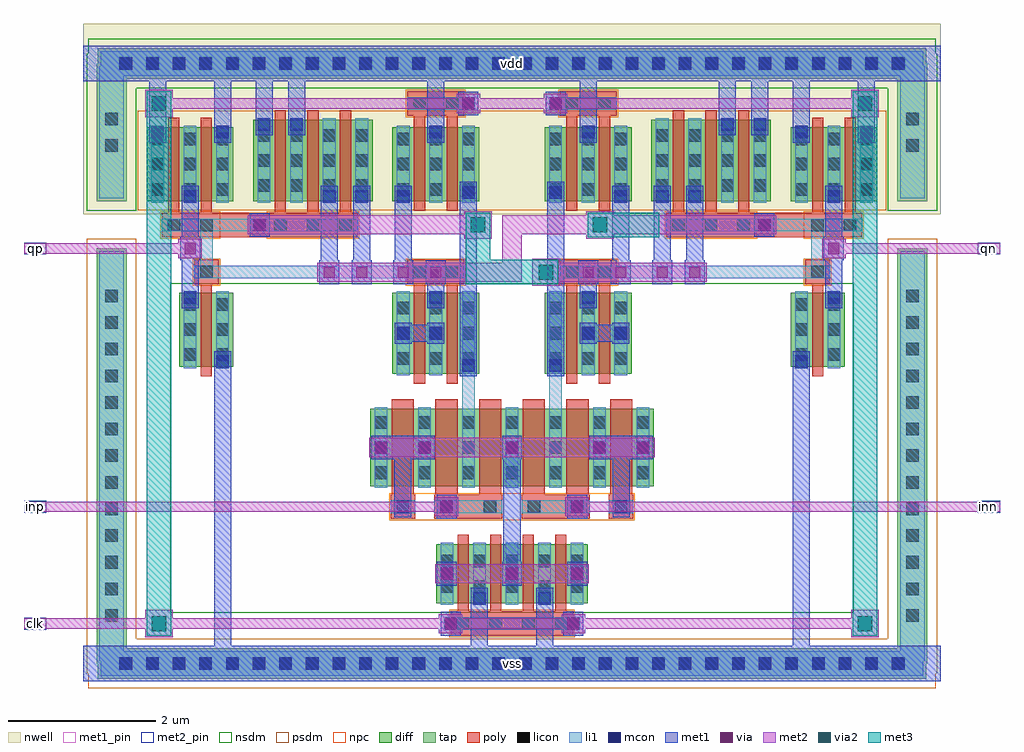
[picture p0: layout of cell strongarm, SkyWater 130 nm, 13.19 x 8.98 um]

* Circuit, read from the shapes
.subckt strongarm clk inn inp qn qp vdd vss
XM1 vss n1 qp vss sky130_fd_pr__nfet_01v8 w=1 l=0.15
XM2 n2 n2 n2 vss sky130_fd_pr__nfet_01v8 w=1.05 l=0.3 m=2
XM3 n3 n1 n3 vss sky130_fd_pr__nfet_01v8 w=1.1 l=0.15
XM4 n4 inp n2 vss sky130_fd_pr__nfet_01v8 w=1.05 l=0.3 m=2
XM5 n4 n1 n3 vss sky130_fd_pr__nfet_01v8 w=1.1 l=0.15
XM6 vss clk n2 vss sky130_fd_pr__nfet_01v8 w=0.8 l=0.15 m=4
XM7 n5 inn n2 vss sky130_fd_pr__nfet_01v8 w=1.05 l=0.3 m=2
XM8 n1 n3 n5 vss sky130_fd_pr__nfet_01v8 w=1.1 l=0.15
XM9 n1 n3 n1 vss sky130_fd_pr__nfet_01v8 w=1.1 l=0.15
XM10 qn n3 vss vss sky130_fd_pr__nfet_01v8 w=1 l=0.15
XM11 qp n1 vdd vdd sky130_fd_pr__pfet_01v8 w=1 l=0.15 m=2
XM12 vdd n1 vdd vdd sky130_fd_pr__pfet_01v8 w=1.1 l=0.15
XM13 n3 n1 vdd vdd sky130_fd_pr__pfet_01v8 w=1.1 l=0.15
XM14 n3 n1 n3 vdd sky130_fd_pr__pfet_01v8 w=1.1 l=0.15
XM15 vdd clk n3 vdd sky130_fd_pr__pfet_01v8 w=1 l=0.15
XM16 n4 clk vdd vdd sky130_fd_pr__pfet_01v8 w=1 l=0.15
XM17 vdd clk n5 vdd sky130_fd_pr__pfet_01v8 w=1 l=0.15
XM18 n1 clk vdd vdd sky130_fd_pr__pfet_01v8 w=1 l=0.15
XM19 n1 n3 n1 vdd sky130_fd_pr__pfet_01v8 w=1.1 l=0.15
XM20 vdd n3 n1 vdd sky130_fd_pr__pfet_01v8 w=1.1 l=0.15
XM21 vdd n3 vdd vdd sky130_fd_pr__pfet_01v8 w=1.1 l=0.15
XM22 qn n3 vdd vdd sky130_fd_pr__pfet_01v8 w=1 l=0.15 m=2
.ends

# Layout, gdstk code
import gdstk
lib = gdstk.Library(unit=1e-6, precision=1e-09)
def R(c, l, rs):  # rectangles x0, y0, x1, y1
    for r in rs: c.add(gdstk.rectangle(r[:2], r[2:], *l))
def A(c, l, x, y, w, h, nx, ny, dx, dy):  # array of equal rectangles
    R(c, l, [(x+i*dx, y+j*dy, x+i*dx+w, y+j*dy+h) for i in range(nx) for j in range(ny)])
nwell = (64, 20)
diff = (65, 20)
tap = (65, 44)
poly = (66, 20)
licon = (66, 44)
li1 = (67, 20)
mcon = (67, 44)
met1_pin = (68, 16)
met1 = (68, 20)
via = (68, 44)
met2_pin = (69, 16)
met2 = (69, 20)
via2 = (69, 44)
met3 = (70, 20)
nsdm = (93, 44)
psdm = (94, 20)
npc = (95, 20)

strongarm = lib.new_cell('strongarm')
R(strongarm, nwell, [(-5.795,6.31,5.795,8.89)])
A(strongarm, diff, -1.025, 1.055, 0.73, 0.8, 4, 1, 0.44, 0)
A(strongarm, diff, -1.915, 2.635, 0.88, 1.05, 6, 1, 0.59, 0)
A(strongarm, diff, -3.495, 6.49, 0.73, 1.1, 3, 1, 0.44, 0)
A(strongarm, diff, 1.885, 6.49, 0.73, 1.1, 3, 1, 0.44, 0)
R(strongarm, diff, [(-1.615,4.155,-0.885,5.255), (-1.175,4.155,-0.445,5.255), (0.445,4.155,1.175,5.255), (0.885,4.155,1.615,5.255), (-4.495,4.255,-3.765,5.255), (3.765,4.255,4.495,5.255), (-4.935,6.49,-4.205,7.49), (-4.495,6.49,-3.765,7.49), (-1.615,6.49,-0.885,7.49), (-1.175,6.49,-0.445,7.49), (0.445,6.49,1.175,7.49), (0.885,6.49,1.615,7.49), (3.765,6.49,4.495,7.49), (4.205,6.49,4.935,7.49)])
R(strongarm, tap, [(-5.595,0.035,5.595,0.445), (-5.615,0.24,-5.205,5.855), (5.205,0.24,5.615,5.855), (-5.615,6.49,-5.205,8.35), (5.205,6.49,5.615,8.35), (-5.595,8.145,5.595,8.555)])
A(strongarm, poly, -0.825, 0.615, 0.33, 0.33, 4, 1, 0.44, 0)
A(strongarm, poly, -0.505, 0.615, 0.13, 0.33, 3, 1, 0.44, 0)
A(strongarm, poly, -0.735, 0.945, 0.15, 1.04, 4, 1, 0.44, 0)
A(strongarm, poly, -1.64, 2.195, 0.33, 0.33, 6, 1, 0.59, 0)
A(strongarm, poly, -1.625, 2.525, 0.3, 1.29, 6, 1, 0.59, 0)
A(strongarm, poly, -3.295, 6.005, 0.33, 0.33, 3, 1, 0.44, 0)
A(strongarm, poly, 2.085, 6.005, 0.33, 0.33, 3, 1, 0.44, 0)
A(strongarm, poly, -3.205, 6.335, 0.15, 1.385, 3, 1, 0.44, 0)
A(strongarm, poly, 2.175, 6.335, 0.15, 1.385, 3, 1, 0.44, 0)
R(strongarm, poly, [(-0.73,2.195,-0.45,2.525), (0.45,2.195,0.73,2.525), (-1.325,4.025,-1.175,5.365), (-0.885,4.025,-0.735,5.365), (0.735,4.025,0.885,5.365), (1.175,4.025,1.325,5.365), (-4.205,4.125,-4.055,5.365), (4.055,4.125,4.205,5.365), (-4.295,5.365,-3.965,5.695), (-1.415,5.365,-1.085,5.695), (-1.095,5.365,-0.965,5.695), (-0.975,5.365,-0.645,5.695), (0.645,5.365,0.975,5.695), (0.965,5.365,1.095,5.695), (1.085,5.365,1.415,5.695), (3.965,5.365,4.295,5.695), (-4.735,6.005,-4.405,6.335), (-4.415,6.005,-4.285,6.335), (-4.295,6.005,-3.965,6.335), (-3.975,6.005,-3.285,6.335), (-2.975,6.005,-2.845,6.335), (-2.535,6.005,-2.405,6.335), (2.405,6.005,2.535,6.335), (2.845,6.005,2.975,6.335), (3.285,6.005,3.975,6.335), (3.965,6.005,4.295,6.335), (4.285,6.005,4.415,6.335), (4.405,6.005,4.735,6.335), (-4.645,6.335,-4.495,7.62), (-4.205,6.335,-4.055,7.62), (4.055,6.335,4.205,7.62), (4.495,6.335,4.645,7.62), (-1.325,6.36,-1.175,7.645), (-0.885,6.36,-0.735,7.645), (0.735,6.36,0.885,7.645), (1.175,6.36,1.325,7.645), (-1.415,7.645,-1.085,7.975), (-1.095,7.645,-0.965,7.975), (-0.975,7.645,-0.645,7.975), (0.645,7.645,0.975,7.975), (0.965,7.645,1.095,7.975), (1.085,7.645,1.415,7.975)])
A(strongarm, licon, -5.305, 0.155, 0.17, 0.17, 30, 2, 0.36, 8.11)
A(strongarm, licon, -0.745, 0.695, 0.17, 0.17, 4, 1, 0.44, 0)
A(strongarm, licon, -5.495, 0.805, 0.17, 0.17, 1, 13, 0, 0.36)
A(strongarm, licon, 5.325, 0.805, 0.17, 0.17, 1, 13, 0, 0.36)
A(strongarm, licon, -1.56, 2.275, 0.17, 0.17, 6, 1, 0.59, 0)
A(strongarm, licon, -1.855, 2.735, 0.17, 0.17, 1, 3, 0, 0.34)
A(strongarm, licon, 1.685, 2.735, 0.17, 0.17, 1, 3, 0, 0.34)
A(strongarm, licon, -1.555, 4.28, 0.17, 0.17, 1, 3, 0, 0.34)
A(strongarm, licon, -0.675, 4.28, 0.17, 0.17, 1, 3, 0, 0.34)
A(strongarm, licon, 0.505, 4.28, 0.17, 0.17, 1, 3, 0, 0.34)
A(strongarm, licon, 1.385, 4.28, 0.17, 0.17, 1, 3, 0, 0.34)
A(strongarm, licon, -4.435, 4.33, 0.17, 0.17, 1, 3, 0, 0.34)
A(strongarm, licon, -3.995, 4.33, 0.17, 0.17, 1, 3, 0, 0.34)
A(strongarm, licon, 3.825, 4.33, 0.17, 0.17, 1, 3, 0, 0.34)
A(strongarm, licon, 4.265, 4.33, 0.17, 0.17, 1, 3, 0, 0.34)
A(strongarm, licon, -3.215, 6.085, 0.17, 0.17, 3, 1, 0.44, 0)
A(strongarm, licon, 2.165, 6.085, 0.17, 0.17, 3, 1, 0.44, 0)
A(strongarm, licon, -4.875, 6.565, 0.17, 0.17, 1, 3, 0, 0.34)
A(strongarm, licon, -3.995, 6.565, 0.17, 0.17, 1, 3, 0, 0.34)
A(strongarm, licon, -1.555, 6.565, 0.17, 0.17, 1, 3, 0, 0.34)
A(strongarm, licon, -0.675, 6.565, 0.17, 0.17, 1, 3, 0, 0.34)
A(strongarm, licon, 0.505, 6.565, 0.17, 0.17, 1, 3, 0, 0.34)
A(strongarm, licon, 1.385, 6.565, 0.17, 0.17, 1, 3, 0, 0.34)
A(strongarm, licon, 3.825, 6.565, 0.17, 0.17, 1, 3, 0, 0.34)
A(strongarm, licon, 4.705, 6.565, 0.17, 0.17, 1, 3, 0, 0.34)
A(strongarm, licon, -3.435, 6.615, 0.17, 0.17, 1, 3, 0, 0.34)
A(strongarm, licon, -2.115, 6.615, 0.17, 0.17, 1, 3, 0, 0.34)
A(strongarm, licon, 1.945, 6.615, 0.17, 0.17, 1, 3, 0, 0.34)
A(strongarm, licon, 3.265, 6.615, 0.17, 0.17, 1, 3, 0, 0.34)
R(strongarm, licon, [(-0.965,1.2,-0.795,1.37), (-0.525,1.2,-0.355,1.37), (-0.525,1.2,-0.355,1.37), (-0.085,1.2,0.085,1.37), (-0.085,1.2,0.085,1.37), (0.355,1.2,0.525,1.37), (0.355,1.2,0.525,1.37), (0.795,1.2,0.965,1.37), (-0.965,1.54,-0.795,1.71), (-0.525,1.54,-0.355,1.71), (-0.525,1.54,-0.355,1.71), (-0.085,1.54,0.085,1.71), (-0.085,1.54,0.085,1.71), (0.355,1.54,0.525,1.71), (0.355,1.54,0.525,1.71), (0.795,1.54,0.965,1.71), (-1.265,2.735,-1.095,2.905), (-1.265,2.735,-1.095,2.905), (-0.675,2.735,-0.505,2.905), (-0.675,2.735,-0.505,2.905), (-0.085,2.735,0.085,2.905), (-0.085,2.735,0.085,2.905), (0.505,2.735,0.675,2.905), (0.505,2.735,0.675,2.905), (1.095,2.735,1.265,2.905), (1.095,2.735,1.265,2.905), (-1.265,3.075,-1.095,3.245), (-1.265,3.075,-1.095,3.245), (-0.675,3.075,-0.505,3.245), (-0.675,3.075,-0.505,3.245), (-0.085,3.075,0.085,3.245), (-0.085,3.075,0.085,3.245), (0.505,3.075,0.675,3.245), (0.505,3.075,0.675,3.245), (1.095,3.075,1.265,3.245), (1.095,3.075,1.265,3.245), (-1.265,3.415,-1.095,3.585), (-1.265,3.415,-1.095,3.585), (-0.675,3.415,-0.505,3.585), (-0.675,3.415,-0.505,3.585), (-0.085,3.415,0.085,3.585), (-0.085,3.415,0.085,3.585), (0.505,3.415,0.675,3.585), (0.505,3.415,0.675,3.585), (1.095,3.415,1.265,3.585), (1.095,3.415,1.265,3.585), (-1.115,4.28,-0.945,4.45), (-1.115,4.28,-0.945,4.45), (0.945,4.28,1.115,4.45), (0.945,4.28,1.115,4.45), (-1.115,4.62,-0.945,4.79), (-1.115,4.62,-0.945,4.79), (0.945,4.62,1.115,4.79), (0.945,4.62,1.115,4.79), (-1.115,4.96,-0.945,5.13), (-1.115,4.96,-0.945,5.13), (0.945,4.96,1.115,5.13), (0.945,4.96,1.115,5.13), (-4.215,5.445,-4.045,5.615), (-1.335,5.445,-1.165,5.615), (-0.895,5.445,-0.725,5.615), (0.725,5.445,0.895,5.615), (1.165,5.445,1.335,5.615), (4.045,5.445,4.215,5.615), (-4.655,6.085,-4.485,6.255), (-4.215,6.085,-4.045,6.255), (4.045,6.085,4.215,6.255), (4.485,6.085,4.655,6.255), (-4.435,6.565,-4.265,6.735), (-4.435,6.565,-4.265,6.735), (-1.115,6.565,-0.945,6.735), (-1.115,6.565,-0.945,6.735), (0.945,6.565,1.115,6.735), (0.945,6.565,1.115,6.735), (4.265,6.565,4.435,6.735), (4.265,6.565,4.435,6.735), (-2.995,6.615,-2.825,6.785), (-2.995,6.615,-2.825,6.785), (-2.555,6.615,-2.385,6.785), (-2.555,6.615,-2.385,6.785), (2.385,6.615,2.555,6.785), (2.385,6.615,2.555,6.785), (2.825,6.615,2.995,6.785), (2.825,6.615,2.995,6.785), (-4.435,6.905,-4.265,7.075), (-4.435,6.905,-4.265,7.075), (-1.115,6.905,-0.945,7.075), (-1.115,6.905,-0.945,7.075), (0.945,6.905,1.115,7.075), (0.945,6.905,1.115,7.075), (4.265,6.905,4.435,7.075), (4.265,6.905,4.435,7.075), (-2.995,6.955,-2.825,7.125), (-2.995,6.955,-2.825,7.125), (-2.555,6.955,-2.385,7.125), (-2.555,6.955,-2.385,7.125), (2.385,6.955,2.555,7.125), (2.385,6.955,2.555,7.125), (2.825,6.955,2.995,7.125), (2.825,6.955,2.995,7.125), (-5.495,7.155,-5.325,7.325), (5.325,7.155,5.495,7.325), (-4.435,7.245,-4.265,7.415), (-4.435,7.245,-4.265,7.415), (-1.115,7.245,-0.945,7.415), (-1.115,7.245,-0.945,7.415), (0.945,7.245,1.115,7.415), (0.945,7.245,1.115,7.415), (4.265,7.245,4.435,7.415), (4.265,7.245,4.435,7.415), (-2.995,7.295,-2.825,7.465), (-2.995,7.295,-2.825,7.465), (-2.555,7.295,-2.385,7.465), (-2.555,7.295,-2.385,7.465), (2.385,7.295,2.555,7.465), (2.385,7.295,2.555,7.465), (2.825,7.295,2.995,7.465), (2.825,7.295,2.995,7.465), (-5.495,7.515,-5.325,7.685), (5.325,7.515,5.495,7.685), (-1.335,7.725,-1.165,7.895), (-0.895,7.725,-0.725,7.895), (0.725,7.725,0.895,7.895), (1.165,7.725,1.335,7.895)])
A(strongarm, li1, -0.825, 0.695, 0.33, 0.17, 4, 1, 0.44, 0)
A(strongarm, li1, -0.505, 0.695, 0.13, 0.17, 3, 1, 0.44, 0)
A(strongarm, li1, -1.64, 2.275, 0.33, 0.17, 6, 1, 0.59, 0)
A(strongarm, li1, -3.295, 6.085, 0.33, 0.17, 3, 1, 0.44, 0)
A(strongarm, li1, 2.085, 6.085, 0.33, 0.17, 3, 1, 0.44, 0)
R(strongarm, li1, [(-5.555,0.075,5.555,0.405), (-5.575,0.28,-5.245,5.815), (5.245,0.28,5.575,5.815), (-0.915,0.695,0.915,0.865), (-0.965,1.035,-0.795,1.875), (-0.525,1.035,-0.355,1.875), (-0.525,1.035,-0.355,1.875), (-0.085,1.035,0.085,1.875), (-0.085,1.035,0.085,1.875), (0.355,1.035,0.525,1.875), (0.355,1.035,0.525,1.875), (0.795,1.035,0.965,1.875), (-0.73,2.275,-0.45,2.445), (0.45,2.275,0.73,2.445), (-1.855,2.615,-1.685,3.705), (-1.265,2.615,-1.095,3.705), (-1.265,2.615,-1.095,3.705), (-0.675,2.615,-0.505,3.705), (-0.675,2.615,-0.505,3.705), (-0.085,2.615,0.085,3.705), (-0.085,2.615,0.085,3.705), (0.505,2.615,0.675,3.705), (0.505,2.615,0.675,3.705), (1.095,2.615,1.265,3.705), (1.095,2.615,1.265,3.705), (1.685,2.615,1.855,3.705), (-0.675,3.695,-0.505,4.145), (0.505,3.695,0.675,4.145), (-1.555,4.135,-1.385,5.275), (-1.115,4.135,-0.945,5.275), (-1.115,4.135,-0.945,5.275), (-0.675,4.135,-0.505,5.275), (0.505,4.135,0.675,5.275), (0.945,4.135,1.115,5.275), (0.945,4.135,1.115,5.275), (1.385,4.135,1.555,5.275), (-4.435,4.235,-4.265,5.275), (-3.995,4.235,-3.825,5.275), (3.825,4.235,3.995,5.275), (4.265,4.235,4.435,5.275), (-4.295,5.445,-3.965,5.615), (-4.215,5.445,-0.725,5.615), (-1.415,5.445,-1.085,5.615), (-1.095,5.445,-0.965,5.615), (-0.975,5.445,-0.645,5.615), (0.645,5.445,0.975,5.615), (0.725,5.445,4.215,5.615), (0.965,5.445,1.095,5.615), (1.085,5.445,1.415,5.615), (3.965,5.445,4.295,5.615), (-4.215,5.53,-4.045,6.17), (4.045,5.53,4.215,6.17), (-4.735,6.085,-4.405,6.255), (-4.655,6.085,-2.165,6.255), (-4.415,6.085,-4.285,6.255), (-4.295,6.085,-3.965,6.255), (-3.975,6.085,-3.285,6.255), (-2.975,6.085,-2.845,6.255), (-2.535,6.085,-2.405,6.255), (2.165,6.085,4.655,6.255), (2.405,6.085,2.535,6.255), (2.845,6.085,2.975,6.255), (3.285,6.085,3.975,6.255), (3.965,6.085,4.295,6.255), (4.285,6.085,4.415,6.255), (4.405,6.085,4.735,6.255), (-4.875,6.47,-4.705,7.51), (-4.435,6.47,-4.265,7.51), (-4.435,6.47,-4.265,7.51), (-3.995,6.47,-3.825,7.51), (-3.435,6.47,-3.265,7.61), (-2.995,6.47,-2.825,7.61), (-2.995,6.47,-2.825,7.61), (-2.555,6.47,-2.385,7.61), (-2.555,6.47,-2.385,7.61), (-2.115,6.47,-1.945,7.61), (-1.555,6.47,-1.385,7.51), (-1.115,6.47,-0.945,7.51), (-1.115,6.47,-0.945,7.51), (-0.675,6.47,-0.505,7.51), (0.505,6.47,0.675,7.51), (0.945,6.47,1.115,7.51), (0.945,6.47,1.115,7.51), (1.385,6.47,1.555,7.51), (1.945,6.47,2.115,7.61), (2.385,6.47,2.555,7.61), (2.385,6.47,2.555,7.61), (2.825,6.47,2.995,7.61), (2.825,6.47,2.995,7.61), (3.265,6.47,3.435,7.61), (3.825,6.47,3.995,7.51), (4.265,6.47,4.435,7.51), (4.265,6.47,4.435,7.51), (4.705,6.47,4.875,7.51), (-5.575,6.53,-5.245,8.31), (5.245,6.53,5.575,8.31), (-1.415,7.725,-1.085,7.895), (-1.335,7.725,-0.505,7.895), (-1.095,7.725,-0.965,7.895), (-0.975,7.725,-0.645,7.895), (0.505,7.725,1.335,7.895), (0.645,7.725,0.975,7.895), (0.965,7.725,1.095,7.895), (1.085,7.725,1.415,7.895), (-5.555,8.185,5.555,8.515)])
A(strongarm, mcon, -5.305, 0.155, 0.17, 0.17, 30, 2, 0.36, 8.11)
A(strongarm, mcon, -0.965, 1.37, 0.17, 0.17, 3, 1, 0.88, 0)
A(strongarm, mcon, -1.265, 3.075, 0.17, 0.17, 3, 1, 1.18, 0)
R(strongarm, mcon, [(-0.915,0.695,-0.745,0.865), (0.745,0.695,0.915,0.865), (-0.525,1.035,-0.355,1.205), (0.355,1.035,0.525,1.205), (-1.56,2.275,-1.39,2.445), (-0.97,2.275,-0.8,2.445), (0.795,2.275,0.965,2.445), (1.39,2.275,1.56,2.445), (-1.855,3.075,-1.685,3.245), (1.685,3.075,1.855,3.245), (-0.675,4.185,-0.505,4.355), (0.505,4.185,0.675,4.355), (-3.995,4.235,-3.825,4.405), (3.825,4.235,3.995,4.405), (-1.555,4.62,-1.385,4.79), (-1.115,4.62,-0.945,4.79), (0.945,4.62,1.115,4.79), (1.385,4.62,1.555,4.79), (-4.435,5.105,-4.265,5.275), (-1.115,5.105,-0.945,5.275), (0.945,5.105,1.115,5.275), (4.265,5.105,4.435,5.275), (-3.495,6.085,-3.325,6.255), (3.325,6.085,3.495,6.255), (-4.435,6.47,-4.265,6.64), (-2.555,6.47,-2.385,6.64), (-2.115,6.47,-1.945,6.64), (-1.555,6.47,-1.385,6.64), (1.385,6.47,1.555,6.64), (1.945,6.47,2.115,6.64), (2.385,6.47,2.555,6.64), (4.265,6.47,4.435,6.64), (-0.675,6.52,-0.505,6.69), (0.505,6.52,0.675,6.69), (-4.875,7.34,-4.705,7.51), (-3.995,7.34,-3.825,7.51), (-1.115,7.34,-0.945,7.51), (0.945,7.34,1.115,7.51), (3.825,7.34,3.995,7.51), (4.705,7.34,4.875,7.51), (-3.435,7.44,-3.265,7.61), (-2.995,7.44,-2.825,7.61), (2.825,7.44,2.995,7.61), (3.265,7.44,3.435,7.61), (-0.675,7.725,-0.505,7.895), (0.505,7.725,0.675,7.895)])
R(strongarm, met1_pin, [(-0.15,0.16,0.15,0.32), (-0.15,8.27,0.15,8.43)])
A(strongarm, met1, -1.015, 1.295, 0.27, 0.32, 3, 1, 0.88, 0)
A(strongarm, met1, -1.315, 3, 0.27, 0.32, 3, 1, 1.18, 0)
R(strongarm, met1, [(-5.795,0,5.795,0.48), (-4.025,0.24,-3.795,4.405), (-0.555,0.24,-0.325,1.205), (0.325,0.24,0.555,1.205), (3.795,0.24,4.025,4.405), (-0.965,0.62,-0.695,0.94), (0.695,0.62,0.965,0.94), (-0.555,0.975,-0.325,1.265), (0.325,0.975,0.555,1.265), (-0.115,1.455,0.115,3.16), (-1.02,2.2,-0.75,2.52), (-1.02,2.2,-0.75,2.52), (0.745,2.2,1.015,2.52), (0.745,2.2,1.015,2.52), (-1.59,2.215,-1.36,2.505), (1.36,2.215,1.59,2.505), (-1.59,2.36,-1.36,3.16), (1.36,2.36,1.59,3.16), (-1.905,3,-1.635,3.32), (-1.77,3,-1.18,3.32), (1.18,3,1.77,3.32), (1.635,3,1.905,3.32), (-0.705,4.125,-0.475,4.415), (0.475,4.125,0.705,4.415), (-4.025,4.175,-3.795,4.465), (3.795,4.175,4.025,4.465), (-0.705,4.185,-0.475,6.69), (0.475,4.185,0.705,6.69), (-1.585,4.56,-1.355,4.85), (-1.145,4.56,-0.915,4.85), (0.915,4.56,1.145,4.85), (1.355,4.56,1.585,4.85), (-1.47,4.59,-1.03,4.82), (1.03,4.59,1.47,4.82), (-4.465,5.045,-4.235,5.335), (-1.145,5.045,-0.915,5.335), (0.915,5.045,1.145,5.335), (4.235,5.045,4.465,5.335), (-4.465,5.105,-4.235,6.64), (-1.145,5.105,-0.915,5.53), (0.915,5.105,1.145,5.53), (4.235,5.105,4.465,6.64), (-2.605,5.37,-2.335,5.69), (-2.585,5.37,-2.355,5.69), (-2.165,5.37,-1.895,5.69), (-2.145,5.37,-1.915,5.69), (-1.605,5.37,-1.335,5.69), (-1.585,5.37,-1.355,5.69), (-1.165,5.37,-0.895,5.69), (-1.145,5.37,-0.915,5.69), (0.895,5.37,1.165,5.69), (0.915,5.37,1.145,5.69), (1.335,5.37,1.605,5.69), (1.355,5.37,1.585,5.69), (1.895,5.37,2.165,5.69), (1.915,5.37,2.145,5.69), (2.335,5.37,2.605,5.69), (2.355,5.37,2.585,5.69), (-2.585,5.53,-2.355,6.64), (-2.145,5.53,-1.915,6.64), (-1.585,5.53,-1.355,6.64), (1.355,5.53,1.585,6.64), (1.915,5.53,2.145,6.64), (2.355,5.53,2.585,6.64), (-4.485,5.69,-4.215,6.01), (4.215,5.69,4.485,6.01), (-3.545,6.01,-3.275,6.33), (3.275,6.01,3.545,6.33), (-4.465,6.41,-4.235,6.7), (-2.585,6.41,-2.355,6.7), (-2.145,6.41,-1.915,6.7), (-1.585,6.41,-1.355,6.7), (1.355,6.41,1.585,6.7), (1.915,6.41,2.145,6.7), (2.355,6.41,2.585,6.7), (4.235,6.41,4.465,6.7), (-0.705,6.46,-0.475,6.75), (0.475,6.46,0.705,6.75), (-4.905,7.28,-4.675,7.57), (-4.025,7.28,-3.795,7.57), (-1.145,7.28,-0.915,7.57), (0.915,7.28,1.145,7.57), (3.795,7.28,4.025,7.57), (4.675,7.28,4.905,7.57), (-4.905,7.34,-4.675,8.35), (-4.025,7.34,-3.795,8.35), (-1.145,7.34,-0.915,8.35), (0.915,7.34,1.145,8.35), (3.795,7.34,4.025,8.35), (4.675,7.34,4.905,8.35), (-3.465,7.38,-3.235,7.67), (-3.025,7.38,-2.795,7.67), (2.795,7.38,3.025,7.67), (3.235,7.38,3.465,7.67), (-3.465,7.44,-3.235,8.35), (-3.025,7.44,-2.795,8.35), (2.795,7.44,3.025,8.35), (3.235,7.44,3.465,8.35), (-0.725,7.65,-0.455,7.97), (0.455,7.65,0.725,7.97), (-5.795,8.11,5.795,8.59)])
A(strongarm, via, -0.955, 1.38, 0.15, 0.15, 3, 1, 0.88, 0)
A(strongarm, via, -1.255, 3.085, 0.15, 0.15, 3, 1, 1.18, 0)
R(strongarm, via, [(-0.905,0.705,-0.755,0.855), (0.755,0.705,0.905,0.855), (-0.96,2.285,-0.81,2.435), (0.805,2.285,0.955,2.435), (-1.845,3.085,-1.695,3.235), (1.695,3.085,1.845,3.235), (-2.545,5.455,-2.395,5.605), (-2.105,5.455,-1.955,5.605), (-1.545,5.455,-1.395,5.605), (-1.105,5.455,-0.955,5.605), (0.955,5.455,1.105,5.605), (1.395,5.455,1.545,5.605), (1.955,5.455,2.105,5.605), (2.395,5.455,2.545,5.605), (-4.425,5.775,-4.275,5.925), (4.275,5.775,4.425,5.925), (-3.485,6.095,-3.335,6.245), (3.335,6.095,3.485,6.245), (-0.665,7.735,-0.515,7.885), (0.515,7.735,0.665,7.885)])
R(strongarm, met2_pin, [(-6.595,0.7,-6.295,0.86), (-6.595,2.28,-6.295,2.44), (6.295,2.28,6.595,2.44), (-6.595,5.77,-6.295,5.93), (6.295,5.77,6.595,5.93)])
A(strongarm, met2, -1.04, 1.325, 0.32, 0.26, 3, 1, 0.88, 0)
A(strongarm, met2, -1.34, 3.03, 0.32, 0.26, 3, 1, 1.18, 0)
R(strongarm, met2, [(-4.955,0.595,-4.585,0.965), (4.585,0.595,4.955,0.965), (-0.99,0.65,-0.67,0.91), (0.67,0.65,0.99,0.91), (-6.595,0.71,4.77,0.85), (-0.88,1.325,0.88,1.585), (-1.045,2.23,-0.725,2.49), (0.72,2.23,1.04,2.49), (-6.595,2.29,-0.885,2.43), (0.88,2.29,6.595,2.43), (-1.93,3.03,-1.61,3.29), (-1.77,3.03,1.77,3.29), (1.61,3.03,1.93,3.29), (0.275,5.345,0.645,5.715), (-2.63,5.4,-2.31,5.66), (-2.47,5.4,0,5.66), (-2.19,5.4,-1.87,5.66), (-1.63,5.4,-1.31,5.66), (-1.19,5.4,-0.87,5.66), (-0.13,5.4,0.13,6.3), (0.46,5.4,2.47,5.66), (0.87,5.4,1.19,5.66), (1.31,5.4,1.63,5.66), (1.87,5.4,2.19,5.66), (2.31,5.4,2.63,5.66), (-4.51,5.72,-4.19,5.98), (4.19,5.72,4.51,5.98), (-6.595,5.78,-4.35,5.92), (4.35,5.78,6.595,5.92), (-0.645,5.985,-0.275,6.355), (1.005,5.985,1.375,6.355), (-3.57,6.04,-3.25,6.3), (-3.41,6.04,-0.46,6.3), (0,6.04,3.41,6.3), (3.25,6.04,3.57,6.3), (-4.955,7.625,-4.585,7.995), (4.585,7.625,4.955,7.995), (-0.75,7.68,-0.43,7.94), (0.43,7.68,0.75,7.94), (-4.77,7.74,4.77,7.88)])
R(strongarm, via2, [(-4.87,0.68,-4.67,0.88), (4.67,0.68,4.87,0.88), (0.36,5.43,0.56,5.63), (-0.56,6.07,-0.36,6.27), (1.09,6.07,1.29,6.27), (-4.87,7.71,-4.67,7.91), (4.67,7.71,4.87,7.91)])
R(strongarm, met3, [(-4.935,0.615,-4.605,0.945), (4.605,0.615,4.935,0.945), (-4.935,0.78,-4.605,7.81), (4.605,0.78,4.935,7.81), (-0.625,5.365,-0.295,6.335), (-0.625,5.365,0.625,5.695), (0.295,5.365,0.625,5.695), (-0.625,6.005,-0.295,6.335), (1.025,6.005,1.355,6.335), (1.025,6.005,1.99,6.335), (-4.935,7.645,-4.605,7.975), (4.605,7.645,4.935,7.975)])
A(strongarm, nsdm, -1.15, 0.93, 0.98, 1.05, 4, 1, 0.44, 0)
A(strongarm, nsdm, -2.04, 2.51, 1.13, 1.3, 6, 1, 0.59, 0)
R(strongarm, nsdm, [(-4.62,0.93,4.62,5.38), (-1.74,4.03,-0.76,5.38), (-1.3,4.03,-0.32,5.38), (0.32,4.03,1.3,5.38), (0.76,4.03,1.74,5.38), (-4.62,4.13,-3.64,5.38), (3.64,4.13,4.62,5.38), (-5.745,6.36,-5.075,8.48), (5.075,6.36,5.745,8.48), (-5.725,8.015,5.725,8.685)])
A(strongarm, psdm, -3.62, 6.365, 0.98, 1.35, 3, 1, 0.44, 0)
A(strongarm, psdm, 1.76, 6.365, 0.98, 1.35, 3, 1, 0.44, 0)
R(strongarm, psdm, [(-5.725,-0.095,5.725,0.575), (-5.745,0.11,-5.075,5.985), (5.075,0.11,5.745,5.985), (-5.06,6.365,5.06,7.715), (-5.06,6.365,-4.08,7.615), (-4.62,6.365,-3.64,7.615), (-3.65,6.365,-3.61,7.615), (-1.77,6.365,-1.73,7.615), (-1.74,6.365,-0.76,7.615), (-1.3,6.365,-0.32,7.615), (0.32,6.365,1.3,7.615), (0.76,6.365,1.74,7.615), (1.73,6.365,1.77,7.615), (3.61,6.365,3.65,7.615), (3.64,6.365,4.62,7.615), (4.08,6.365,5.06,7.615)])
A(strongarm, npc, -0.845, 0.595, 0.37, 0.37, 4, 1, 0.44, 0)
A(strongarm, npc, -0.485, 0.595, 0.09, 0.37, 3, 1, 0.44, 0)
A(strongarm, npc, -1.66, 2.175, 0.37, 0.37, 6, 1, 0.59, 0)
A(strongarm, npc, -1.3, 2.175, 0.24, 0.37, 5, 1, 0.59, 0)
A(strongarm, npc, -3.315, 5.985, 0.37, 0.37, 3, 1, 0.44, 0)
A(strongarm, npc, 2.065, 5.985, 0.37, 0.37, 3, 1, 0.44, 0)
R(strongarm, npc, [(-4.315,5.345,-3.945,5.715), (-1.435,5.345,-1.065,5.715), (-1.075,5.345,-0.985,5.715), (-0.995,5.345,-0.625,5.715), (0.625,5.345,0.995,5.715), (0.985,5.345,1.075,5.715), (1.065,5.345,1.435,5.715), (3.945,5.345,4.315,5.715), (-4.755,5.985,-4.385,6.355), (-4.395,5.985,-4.305,6.355), (-4.315,5.985,-3.945,6.355), (-2.955,5.985,-2.865,6.355), (-2.515,5.985,-2.425,6.355), (2.425,5.985,2.515,6.355), (2.865,5.985,2.955,6.355), (3.945,5.985,4.315,6.355), (4.305,5.985,4.395,6.355), (4.385,5.985,4.755,6.355), (-1.435,7.625,-1.065,7.995), (-1.075,7.625,-0.985,7.995), (-0.995,7.625,-0.625,7.995), (0.625,7.625,0.995,7.995), (0.985,7.625,1.075,7.995), (1.065,7.625,1.435,7.995)])
strongarm.add(gdstk.Label('inp', (-6.445,2.36), layer=69, texttype=5))
strongarm.add(gdstk.Label('inn', (6.445,2.36), layer=69, texttype=5))
strongarm.add(gdstk.Label('qp', (-6.445,5.85), layer=69, texttype=5))
strongarm.add(gdstk.Label('qn', (6.445,5.85), layer=69, texttype=5))
strongarm.add(gdstk.Label('clk', (-6.445,0.78), layer=69, texttype=5))
strongarm.add(gdstk.Label('vss', (0,0.24), layer=68, texttype=5))
strongarm.add(gdstk.Label('vdd', (0,8.35), layer=68, texttype=5))

lib.write_gds('strongarm.gds')
